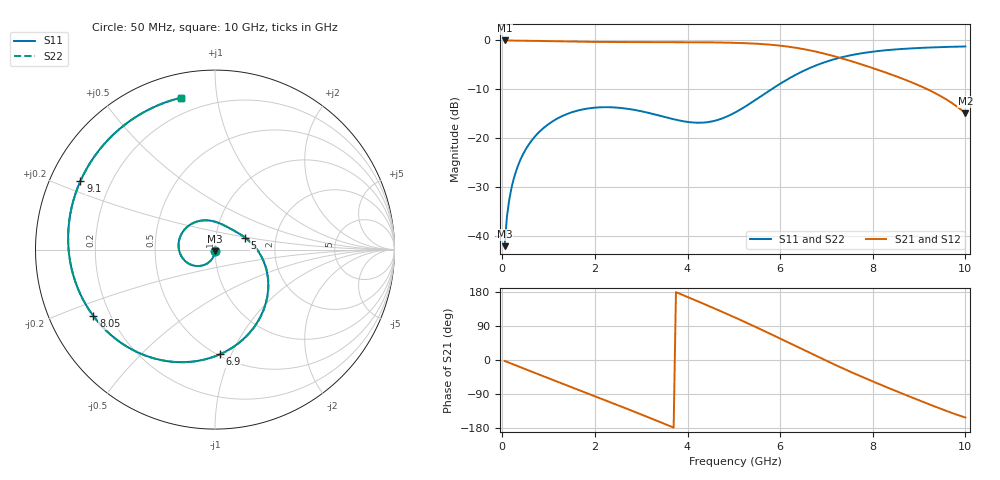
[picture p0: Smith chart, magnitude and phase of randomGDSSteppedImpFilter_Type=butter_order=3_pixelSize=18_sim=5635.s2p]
! freq	dB(S11)	phase(S11)	dB(S12)	phase(S12)
!  dB(S21)	phase(S21)	dB(S22)	phase(S22)
!S-par simulation data
#  GHz  S  DB  R 50
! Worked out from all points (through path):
!   200 points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, 50 MHz to 10 GHz, reference 50 ohm
!   highest |S21| = 0.00 dB at 50 MHz (marker M1); lowest = -14.9 dB at 10 GHz (marker M2)
!   group delay of S21, straight-line fit = 146 ps
!   lowest |S11| = -42.2 dB at 50 MHz (marker M3), VSWR 1.02, Z = 50 - j0.778 ohm
!   |S11| at or under -10 dB: start of sweep to 5.814 GHz
!   |S22| runs from -42.2 to -1.2 dB; largest |S21 - S12| = 0
!   S11 on the Smith chart (normalised r, x): 50 MHz: 1.00, -0.02; 5 GHz: 1.38, +0.19; 6.9 GHz: 0.51, -0.91; 8.05 GHz: 0.14, -0.25; 9.1 GHz: 0.09, +0.24; 10 GHz: 0.12, +0.79
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0.05  -42.17 -92.1  -0.00 -2.5  -0.00 -2.5  -42.17 -92.1
0.1  -36.16 -94.8  -0.01 -4.9  -0.01 -4.9  -36.16 -94.8
0.2  -30.17 -99.9  -0.02 -9.8  -0.02 -9.8  -30.17 -99.9
0.5  -22.43 -114.8  -0.06 -24.3  -0.06 -24.3  -22.43 -114.8
1.15  -16.22 -146.1  -0.17 -55.4  -0.17 -55.4  -16.22 -146.1
1.75  -14.11 -174.8  -0.27 -83.8  -0.27 -83.8  -14.11 -174.7
2.55  -13.83 147.1  -0.33 -121.9  -0.33 -121.9  -13.83 147.2
3.4  -15.43 105.4  -0.33 -163.4  -0.33 -163.4  -15.43 105.7
4.15  -16.84 67.1  -0.36 158.6  -0.36 158.6  -16.85 67.5
5  -14.91 21.9  -0.48 113.5  -0.48 113.5  -14.91 22.4
5.05  -14.65 19.2  -0.50 110.7  -0.50 110.7  -14.65 19.7
5.45  -12.30 -2.9  -0.65 88.4  -0.65 88.4  -12.30 -2.5
5.8  -10.09 -22.8  -0.88 68.3  -0.88 68.3  -10.09 -22.5
6.25  -7.48 -49.2  -1.37 41.8  -1.37 41.8  -7.48 -48.9
6.7  -5.40 -75.8  -2.14 15.2  -2.14 15.2  -5.40 -75.6
6.9  -4.67 -87.5  -2.58 3.6  -2.58 3.6  -4.67 -87.3
7.45  -3.18 -118.8  -4.00 -27.4  -4.00 -27.4  -3.18 -118.6
8.05  -2.25 -151.4  -5.83 -59.1  -5.83 -59.1  -2.25 -151.3
8.35  -1.95 -167.2  -6.82 -74.4  -6.82 -74.4  -1.95 -167.2
9.1  -1.50 153.0  -9.66 -111.3  -9.66 -111.3  -1.50 153.1
9.5  -1.35 131.1  -11.60 -130.2  -11.60 -130.2  -1.35 131.2
10  -1.24 102.7  -14.93 -151.7  -14.93 -151.7  -1.24 102.7
